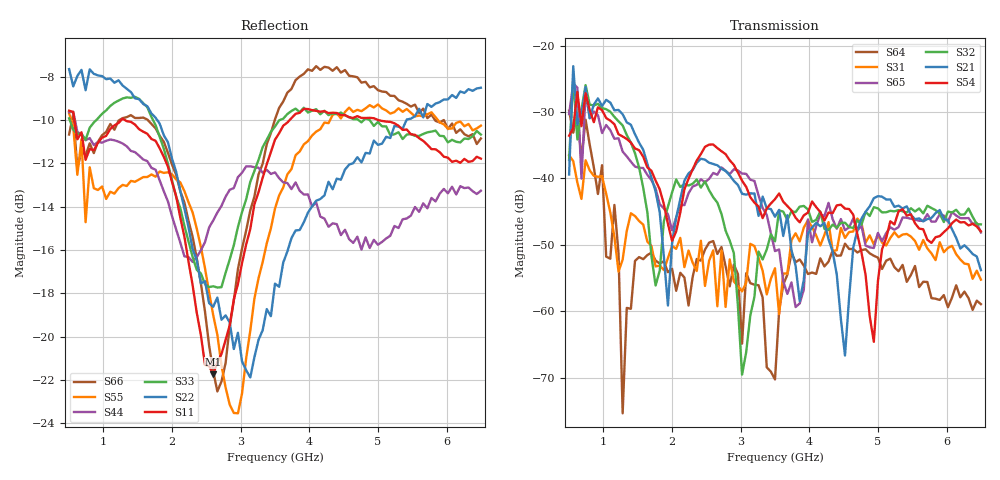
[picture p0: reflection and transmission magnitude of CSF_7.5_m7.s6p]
!Keysight Technologies,M9804A,MY58100912,A.14.10.03
!Date: Thursday, April 27, 2023 10:28:33
!Correction: S11(C  6-Port  )
!S12(C  6-Port  )
!S13(C  6-Port  )
!S14(C  6-Port  )
!S15(C  6-Port  )
!S16(C  6-Port  )
!S21(C  6-Port  )
!S22(C  6-Port  )
!S23(C  6-Port  )
!S24(C  6-Port  )
!S25(C  6-Port  )
!S26(C  6-Port  )
!S31(C  6-Port  )
!S32(C  6-Port  )
!S33(C  6-Port  )
!S34(C  6-Port  )
!S35(C  6-Port  )
!S36(C  6-Port  )
!S41(C  6-Port  )
!S42(C  6-Port  )
!S43(C  6-Port  )
!S44(C  6-Port  )
!S45(C  6-Port  )
!S46(C  6-Port  )
!S51(C  6-Port  )
!S52(C  6-Port  )
!S53(C  6-Port  )
!S54(C  6-Port  )
!S55(C  6-Port  )
!S56(C  6-Port  )
!S61(C  6-Port  )
!S62(C  6-Port  )
!S63(C  6-Port  )
!S64(C  6-Port  )
!S65(C  6-Port  )
!S66(C  6-Port  )
!S6P File: Measurement: :
# Hz S  RI  R 50
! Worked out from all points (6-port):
!   101 points, 500 MHz to 6.5 GHz, reference 50 ohm
!   strongest paths, dB at 500 MHz, 2 GHz, 3.5 GHz, 5 GHz, 6.5 GHz:
!     S54: -33.6, -49.4, -43.1, -55.5, -48.0
!     S21: -39.4, -49.8, -45.8, -42.7, -53.8
!     S32: -37.2, -42.1, -49.5, -44.5, -46.9
!     S65: -30.3, -47.8, -51.0, -48.2, -48.2
!     S31: -36.5, -50.2, -53.6, -48.4, -55.3
!     S64: -29.8, -53.6, -70.3, -51.9, -58.9
!   lowest |S11| = -21.7 dB at 2.6 GHz (marker M1), VSWR 1.18, Z = 42.7 + j2.09 ohm
!   |S11| at or under -10 dB: 578 MHz to 1.259 GHz (681.1 MHz wide, 74.2 % of centre); 1.316 GHz to 3.712 GHz (2.397 GHz wide, 95.3 % of centre); 5.012 GHz to end of sweep
